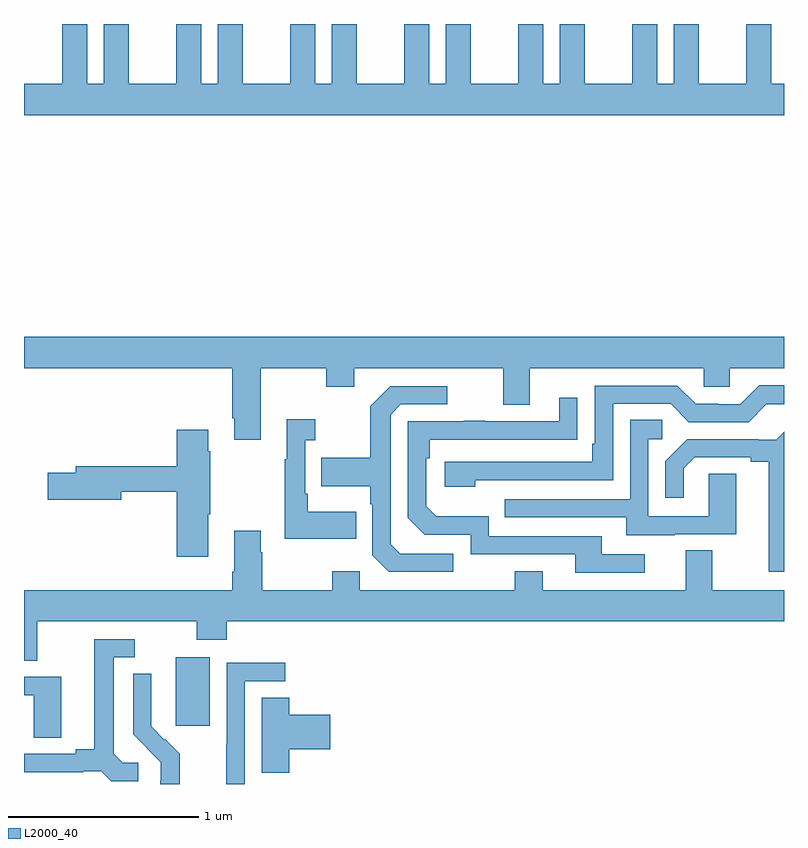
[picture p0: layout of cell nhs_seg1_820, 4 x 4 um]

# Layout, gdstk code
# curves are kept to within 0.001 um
import gdstk
lib = gdstk.Library(unit=1e-6, precision=1e-09)
def R(c, l, rs):  # rectangles x0, y0, x1, y1
    for r in rs: c.add(gdstk.rectangle(r[:2], r[2:], *l))
def P(c, l, *ps):  # polygons
    for p in ps: c.add(gdstk.Polygon(p, *l))
L2000_40 = (2000, 40)

nhs_seg1_820 = lib.new_cell('nhs_seg1_820')
R(nhs_seg1_820, L2000_40, [(155.798,560.505,155.977,560.866)])
P(nhs_seg1_820, L2000_40, [(159,563.884),(158.932,563.884),(158.932,564.199),(158.802,564.199),(158.802,564.092),(158.801,564.092),(158.801,563.884),(158.551,563.884),(158.551,564.092),(158.55,564.092),(158.55,564.199),(158.42,564.199),(158.42,563.884),(158.332,563.884),(158.332,564.199),(158.202,564.199),(158.202,564.092),(158.201,564.092),(158.201,563.884),(157.951,563.884),(157.951,564.092),(157.95,564.092),(157.95,564.199),(157.82,564.199),(157.82,563.884),(157.732,563.884),(157.732,564.199),(157.602,564.199),(157.602,564.092),(157.601,564.092),(157.601,563.884),(157.351,563.884),(157.351,564.092),(157.35,564.092),(157.35,564.199),(157.22,564.199),(157.22,563.884),(157.132,563.884),(157.132,564.199),(157.002,564.199),(157.002,564.092),(157.001,564.092),(157.001,563.884),(156.751,563.884),(156.751,564.092),(156.75,564.092),(156.75,564.199),(156.62,564.199),(156.62,563.884),(156.532,563.884),(156.532,564.199),(156.402,564.199),(156.402,564.092),(156.401,564.092),(156.401,563.884),(156.151,563.884),(156.151,564.092),(156.15,564.092),(156.15,564.199),(156.02,564.199),(156.02,563.884),(155.932,563.884),(155.932,564.199),(155.802,564.199),(155.802,564.092),(155.801,564.092),(155.801,563.884),(155.551,563.884),(155.551,564.092),(155.55,564.092),(155.55,564.199),(155.42,564.199),(155.42,563.884),(155.332,563.884),(155.332,564.199),(155.202,564.199),(155.202,564.092),(155.201,564.092),(155.201,563.884),(155,563.884),(155,563.72),(159,563.72)],
  [(156.247,562.388),(156.592,562.388),(156.592,562.289),(156.739,562.289),(156.739,562.388),(157.523,562.388),(157.523,562.194),(157.663,562.194),(157.663,562.388),(158.577,562.388),(158.577,562.29),(158.715,562.29),(158.715,562.388),(159,562.388),(159,562.552),(155,562.552),(155,562.388),(156.095,562.388),(156.095,562.123),(156.107,562.123),(156.107,562.011),(156.247,562.011)],
  [(157.376,561.798),(158.1,561.798),(158.1,562.2),(158.403,562.2),(158.499,562.104),(158.814,562.104),(158.907,562.197),(159,562.197),(159,562.297),(158.869,562.297),(158.769,562.197),(158.654,562.197),(158.654,562.2),(158.535,562.2),(158.439,562.296),(158.004,562.296),(158.004,561.991),(157.991,561.991),(157.991,561.894),(157.215,561.894),(157.215,561.764),(157.376,561.764)],
  [(157.258,561.411),(156.981,561.411),(156.93,561.462),(156.93,562.143),(156.984,562.197),(157.228,562.197),(157.228,562.293),(156.927,562.293),(156.822,562.187),(156.822,561.915),(156.565,561.915),(156.565,561.767),(156.822,561.767),(156.822,561.671),(156.834,561.671),(156.834,561.402),(156.921,561.315),(157.258,561.315)],
  [(158.266,561.408),(158.041,561.408),(158.041,561.504),(157.446,561.504),(157.446,561.607),(157.169,561.607),(157.116,561.66),(157.116,561.914),(157.136,561.914),(157.136,562.011),(157.913,562.012),(157.913,562.231),(157.817,562.231),(157.817,562.107),(157.427,562.107),(157.427,562.112),(157.315,562.112),(157.315,562.107),(157.02,562.107),(157.02,561.6),(157.11,561.51),(157.35,561.51),(157.35,561.408),(157.901,561.408),(157.901,561.312),(158.266,561.312)],
  [(156.749,561.631),(156.493,561.631),(156.493,561.727),(156.48,561.727),(156.48,562.007),(156.532,562.007),(156.532,562.12),(156.383,562.12),(156.383,561.907),(156.372,561.907),(156.372,561.491),(156.749,561.491)],
  [(158.425,561.513),(158.749,561.513),(158.749,561.833),(158.604,561.833),(158.604,561.609),(158.286,561.609),(158.286,562.014),(158.359,562.014),(158.359,562.115),(158.19,562.115),(158.19,561.699),(157.531,561.699),(157.531,561.603),(158.171,561.603),(158.171,561.509),(158.425,561.509)],
  [(155.971,561.619),(155.979,561.619),(155.979,561.95),(155.971,561.95),(155.971,562.063),(155.804,562.063),(155.804,561.872),(155.273,561.872),(155.273,561.836),(155.124,561.836),(155.124,561.694),(155.512,561.694),(155.512,561.736),(155.804,561.736),(155.804,561.396),(155.971,561.396)],
  [(159,562.053),(158.958,562.011),(158.864,562.011),(158.864,562.014),(158.492,562.014),(158.376,561.898),(158.376,561.705),(158.473,561.705),(158.473,561.861),(158.53,561.918),(158.825,561.918),(158.825,561.896),(158.921,561.896),(158.921,561.315),(159,561.315)],
  [(155.071,561.056),(155.908,561.056),(155.908,560.957),(156.068,560.957),(156.068,561.056),(159,561.056),(159,561.22),(158.623,561.22),(158.623,561.428),(158.483,561.428),(158.483,561.22),(157.729,561.22),(157.729,561.319),(157.582,561.319),(157.582,561.22),(156.768,561.22),(156.768,561.319),(156.622,561.319),(156.622,561.22),(156.255,561.22),(156.255,561.419),(156.247,561.419),(156.247,561.532),(156.107,561.532),(156.107,561.316),(156.095,561.316),(156.095,561.22),(155,561.22),(155,560.848),(155.071,560.848)],
  [(155.602,560.31),(155.52,560.31),(155.473,560.357),(155.473,560.865),(155.584,560.865),(155.584,560.961),(155.369,560.961),(155.369,560.381),(155.273,560.381),(155.273,560.358),(155,560.358),(155,560.262),(155.312,560.262),(155.312,560.265),(155.406,560.265),(155.458,560.213),(155.602,560.213)],
  [(156.162,560.739),(156.376,560.739),(156.376,560.838),(156.066,560.838),(156.066,560.408),(156.064,560.408),(156.064,560.199),(156.162,560.199)],
  [(155.819,560.359),(155.742,560.436),(155.739,560.433),(155.669,560.504),(155.67,560.78),(155.574,560.78),(155.574,560.462),(155.72,560.314),(155.72,560.217),(155.718,560.217),(155.718,560.199),(155.819,560.199)],
  [(155.197,560.763),(155,560.763),(155,560.667),(155.052,560.667),(155.052,560.443),(155.197,560.443)],
  [(156.395,560.381),(156.613,560.381),(156.613,560.564),(156.395,560.564),(156.395,560.654),(156.251,560.654),(156.251,560.257),(156.395,560.257)])

lib.write_gds('nhs_seg1_820.gds')
